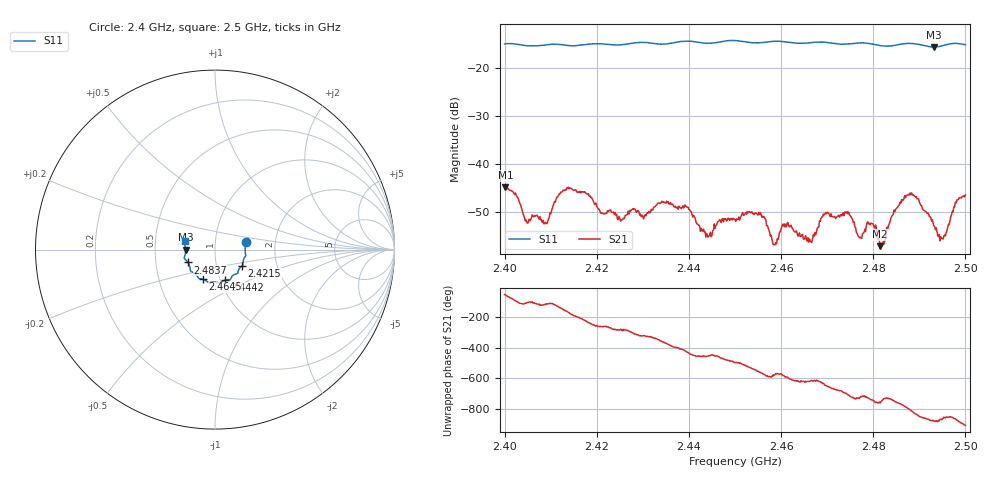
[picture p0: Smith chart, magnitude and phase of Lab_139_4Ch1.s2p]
# Hz S RI R 50
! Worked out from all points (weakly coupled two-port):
!   601 points, 2.4 GHz to 2.5 GHz, reference 50 ohm
!   highest |S21| = -44.89 dB at 2.4002 GHz (marker M1); lowest = -57.2 dB at 2.4815 GHz (marker M2)
!   lowest |S11| = -15.7 dB at 2.4932 GHz (marker M3), VSWR 1.39, Z = 36 - j0.0582 ohm
!   |S11| at or under -10 dB: start of sweep to end of sweep
!   S12 and S22 are empty: the file has one direction only
!   S11 on the Smith chart (normalised r, x): 2.4 GHz: 1.41, +0.12; 2.4215 GHz: 1.33, -0.25; 2.4442 GHz: 1.05, -0.37; 2.4645 GHz: 0.83, -0.29; 2.4837 GHz: 0.73, -0.11; 2.5 GHz: 0.71, +0.07
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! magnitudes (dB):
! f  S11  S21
! 2.4 GHz  -15.1  -44.9
! 2.4002 GHz  -15.1  -44.9
! 2.4047 GHz  -15.5  -51.7
! 2.4087 GHz  -15.3  -52.5
! 2.4123 GHz  -15.2  -45.9
! 2.4167 GHz  -15.3  -45.8
! 2.4215 GHz  -15.1  -50.5
! 2.4333 GHz  -15.1  -48.2
! 2.4397 GHz  -14.5  -49.1
! 2.4442 GHz  -15.0  -55.3
! 2.45 GHz  -14.4  -51.6
! 2.4645 GHz  -15.0  -54.8
! 2.4667 GHz  -14.8  -56.4
! 2.4697 GHz  -14.8  -50.2
! 2.4743 GHz  -15.1  -50.0
! 2.4815 GHz  -15.4  -57.2
! 2.4833 GHz  -15.6  -52.9
! 2.4837 GHz  -15.5  -52.0
! 2.4882 GHz  -15.0  -46.5
! 2.4932 GHz  -15.7  -53.0
! 2.4953 GHz  -15.4  -55.1
! 2.5 GHz  -15.3  -46.5
